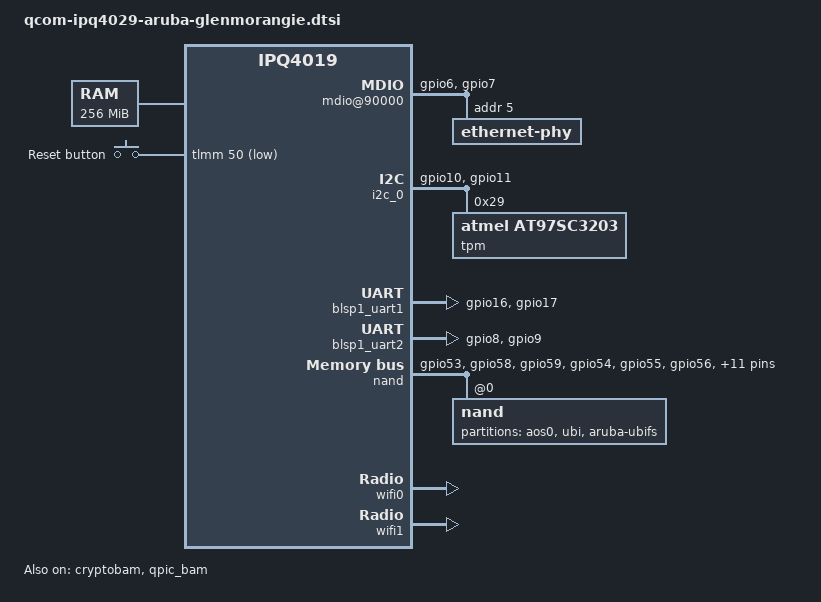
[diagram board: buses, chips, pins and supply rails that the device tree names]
// SPDX-License-Identifier: GPL-2.0-only OR MIT

#include "qcom-ipq4019.dtsi"
#include <dt-bindings/gpio/gpio.h>
#include <dt-bindings/input/input.h>
#include <dt-bindings/soc/qcom,tcsr.h>

/ {
	memory {
		device_type = "memory";
		reg = <0x80000000 0x10000000>;
	};

	soc {
		rng@22000 {
			status = "okay";
		};

		mdio@90000 {
			status = "okay";
			pinctrl-0 = <&mdio_pins>;
			pinctrl-names = "default";

			/delete-node/ ethernet-phy@0;
			/delete-node/ ethernet-phy@1;
			/delete-node/ ethernet-phy@2;
			/delete-node/ ethernet-phy@3;
			/delete-node/ ethernet-phy@4;
			/delete-node/ psgmii-phy@5;

			ethernet-phy@5 {
				reg = <0x5>;
			};
		};

		counter@4a1000 {
			compatible = "qcom,qca-gcnt";
			reg = <0x4a1000 0x4>;
		};

		ess_tcsr@1953000 {
			compatible = "qcom,tcsr";
			reg = <0x1953000 0x1000>;
			qcom,ess-interface-select = <TCSR_ESS_PSGMII_RGMII5>;
		};

		tcsr@1949000 {
			compatible = "qcom,tcsr";
			reg = <0x1949000 0x100>;
			qcom,wifi_glb_cfg = <TCSR_WIFI_GLB_CFG>;
		};

		tcsr@1957000 {
			compatible = "qcom,tcsr";
			reg = <0x1957000 0x100>;
			qcom,wifi_noc_memtype_m0_m2 = <TCSR_WIFI_NOC_MEMTYPE_M0_M2>;
		};

		crypto@8e3a000 {
			status = "okay";
		};

		watchdog@b017000 {
			status = "okay";
		};

		ess-switch@c000000 {
			switch_mac_mode = <0x3>; /* mac mode for RGMII RMII */
			switch_lan_bmp = <0x0>; /* lan port bitmap */
			switch_wan_bmp = <0x10>; /* wan port bitmap */
		};

		edma@c080000 {
			qcom,single-phy;
			qcom,num_gmac = <1>;
			phy-mode = "rgmii-id";
			status = "okay";
		};

		i2c_0: i2c@78b7000 {
			pinctrl-0 = <&i2c_0_pins>;
			pinctrl-names = "default";
			status = "okay";

			tpm@29 {
				/* No Driver */
				compatible = "atmel,at97sc3203";
				reg = <0x29>;
				read-only;
			};
		};
	};

	keys {
		compatible = "gpio-keys";

		reset {
			label = "Reset button";
			gpios = <&tlmm 50 GPIO_ACTIVE_LOW>;
			linux,code = <KEY_RESTART>;
		};
	};
};

&blsp_dma {
	status = "okay";
};

&blsp1_uart1 {
	/* Texas Instruments CC2540T BLE radio */
	pinctrl-0 = <&serial_0_pins>;
	pinctrl-names = "default";
	status = "okay";
};

&blsp1_uart2 {
	pinctrl-0 = <&serial_1_pins>;
	pinctrl-names = "default";
	status = "okay";
};

&cryptobam {
	status = "okay";
};

&gmac0 {
	qcom,phy_mdio_addr = <5>;
	qcom,poll_required = <1>;
	vlan_tag = <0 0x20>;
};

&qpic_bam {
	status = "okay";
};

&tlmm {
	mdio_pins: mdio_pinmux {
		mux_1 {
			pins = "gpio6";
			function = "mdio";
			bias-pull-up;
		};
		mux_2 {
			pins = "gpio7";
			function = "mdc";
			bias-pull-up;
		};
	};

	nand_pins: nand_pins {
		pullups {
			pins = "gpio53", "gpio58", "gpio59";
			function = "qpic";
			bias-pull-up;
		};

		pulldowns {
			pins = "gpio54", "gpio55", "gpio56",
				"gpio57", "gpio60", "gpio61",
				"gpio62", "gpio63", "gpio64",
				"gpio65", "gpio66", "gpio67",
				"gpio68", "gpio69";
			function = "qpic";
			bias-pull-down;
		};
	};

	spi_0_pins: spi_0_pinmux {
		pin {
			function = "blsp_spi0";
			pins = "gpio13", "gpio14", "gpio15";
			drive-strength = <12>;
			bias-disable;
		};
		pin_cs {
			function = "gpio";
			pins = "gpio12";
			drive-strength = <2>;
			bias-disable;
			output-high;
		};
	};

	i2c_0_pins: i2c_0_pinmux {
		mux {
			pins = "gpio10", "gpio11";
			function = "blsp_i2c0";
			drive-strength = <4>;
			bias-disable;
		};
	};

	serial_0_pins: serial_0_pinmux {
		mux {
			pins = "gpio16", "gpio17";
			function = "blsp_uart0";
			bias-disable;
		};
	};

	serial_1_pins: serial_1_pinmux {
		mux {
			pins = "gpio8", "gpio9";
			function = "blsp_uart1";
			bias-disable;
		};
	};
};

&nand {
	pinctrl-0 = <&nand_pins>;
	pinctrl-names = "default";
	status = "okay";

	nand@0 {
		partitions {
			compatible = "fixed-partitions";
			#address-cells = <1>;
			#size-cells = <1>;

			partition@0 {
				/* 'aos0' in Aruba firmware */
				label = "aos0";
				reg = <0x0 0x2000000>;
				read-only;
			};

			partition@2000000 {
				/* 'aos1' in Aruba firmware */
				label = "ubi";
				reg = <0x2000000 0x2000000>;
			};

			partition@4000000 {
				label = "aruba-ubifs";
				reg = <0x4000000 0x4000000>;
				read-only;
			};
		};
	};
};

&wifi0 {
	status = "okay";
	nvmem-cell-names = "pre-calibration", "mac-address";
	nvmem-cells = <&precal_art_1000>, <&macaddr_mfginfo_1d>;
	qcom,ath10k-calibration-variant = "Aruba-AP-303";
};

&wifi1 {
	status = "okay";
	nvmem-cell-names = "pre-calibration", "mac-address";
	nvmem-cells = <&precal_art_5000>, <&macaddr_mfginfo_1d>;
	mac-address-increment = <1>;
	qcom,ath10k-calibration-variant = "Aruba-AP-303";
};
